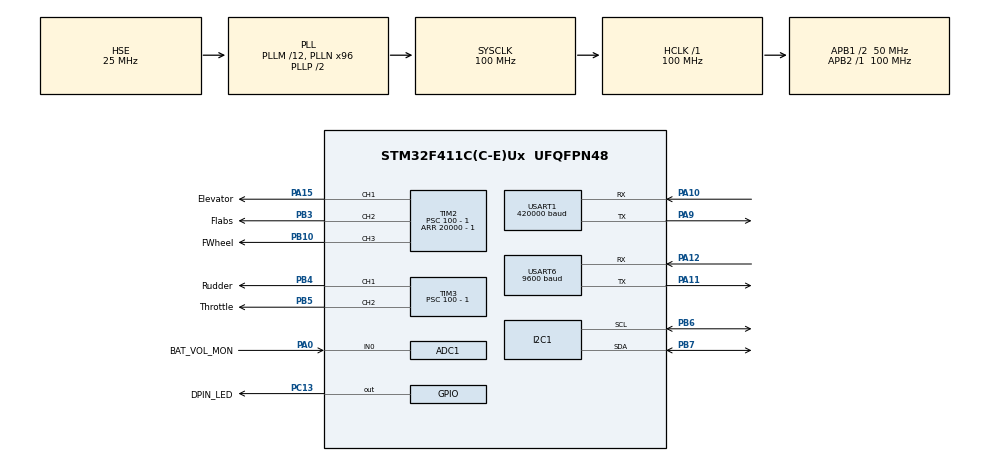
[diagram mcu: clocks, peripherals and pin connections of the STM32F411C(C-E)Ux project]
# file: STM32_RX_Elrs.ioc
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ADC1.Channel-0\#ChannelRegularConversion=ADC_CHANNEL_0
ADC1.ContinuousConvMode=ENABLE
ADC1.DMAContinuousRequests=ENABLE
ADC1.NbrOfConversionFlag=1
ADC1.Rank-0\#ChannelRegularConversion=1
ADC1.SamplingTime-0\#ChannelRegularConversion=ADC_SAMPLETIME_144CYCLES
ADC1.ScanConvMode=ENABLE
ADC1.master=1
Dma.ADC1.2.Direction=DMA_PERIPH_TO_MEMORY
Dma.ADC1.2.FIFOMode=DMA_FIFOMODE_DISABLE
Dma.ADC1.2.Instance=DMA2_Stream0
Dma.ADC1.2.MemDataAlignment=DMA_MDATAALIGN_HALFWORD
Dma.ADC1.2.MemInc=DMA_MINC_ENABLE
Dma.ADC1.2.Mode=DMA_CIRCULAR
Dma.ADC1.2.PeriphDataAlignment=DMA_PDATAALIGN_HALFWORD
Dma.ADC1.2.PeriphInc=DMA_PINC_DISABLE
Dma.ADC1.2.Priority=DMA_PRIORITY_LOW
Dma.Request0=USART1_RX
Dma.Request1=USART1_TX
Dma.Request2=ADC1
Dma.Request3=USART6_RX
Dma.USART1_RX.0.Direction=DMA_PERIPH_TO_MEMORY
Dma.USART1_RX.0.FIFOMode=DMA_FIFOMODE_DISABLE
Dma.USART1_RX.0.Instance=DMA2_Stream2
Dma.USART1_RX.0.MemDataAlignment=DMA_MDATAALIGN_BYTE
Dma.USART1_RX.0.MemInc=DMA_MINC_ENABLE
Dma.USART1_RX.0.Mode=DMA_CIRCULAR
Dma.USART1_RX.0.PeriphDataAlignment=DMA_PDATAALIGN_BYTE
Dma.USART1_RX.0.PeriphInc=DMA_PINC_DISABLE
Dma.USART1_RX.0.Priority=DMA_PRIORITY_LOW
Dma.USART1_TX.1.Direction=DMA_MEMORY_TO_PERIPH
Dma.USART1_TX.1.FIFOMode=DMA_FIFOMODE_DISABLE
Dma.USART1_TX.1.Instance=DMA2_Stream7
Dma.USART1_TX.1.MemDataAlignment=DMA_MDATAALIGN_BYTE
Dma.USART1_TX.1.MemInc=DMA_MINC_ENABLE
Dma.USART1_TX.1.Mode=DMA_NORMAL
Dma.USART1_TX.1.PeriphDataAlignment=DMA_PDATAALIGN_BYTE
Dma.USART1_TX.1.PeriphInc=DMA_PINC_DISABLE
Dma.USART1_TX.1.Priority=DMA_PRIORITY_LOW
Dma.USART6_RX.3.Direction=DMA_PERIPH_TO_MEMORY
Dma.USART6_RX.3.FIFOMode=DMA_FIFOMODE_DISABLE
Dma.USART6_RX.3.Instance=DMA2_Stream1
Dma.USART6_RX.3.MemDataAlignment=DMA_MDATAALIGN_BYTE
Dma.USART6_RX.3.MemInc=DMA_MINC_ENABLE
Dma.USART6_RX.3.Mode=DMA_CIRCULAR
Dma.USART6_RX.3.PeriphDataAlignment=DMA_PDATAALIGN_BYTE
Dma.USART6_RX.3.PeriphInc=DMA_PINC_DISABLE
Dma.USART6_RX.3.Priority=DMA_PRIORITY_LOW
Mcu.Family=STM32F4
Mcu.Name=STM32F411C(C-E)Ux
Mcu.Package=UFQFPN48
NVIC.ADC_IRQn=true\:0\:0\:false\:false\:true\:true\:true\:true
NVIC.DMA2_Stream0_IRQn=true\:0\:0\:false\:false\:true\:false\:true\:true
NVIC.DMA2_Stream1_IRQn=true\:0\:0\:false\:false\:true\:false\:true\:true
NVIC.DMA2_Stream2_IRQn=true\:0\:0\:false\:false\:true\:false\:true\:true
NVIC.DMA2_Stream7_IRQn=true\:0\:0\:false\:false\:true\:false\:true\:true
NVIC.PriorityGroup=NVIC_PRIORITYGROUP_4
NVIC.USART1_IRQn=true\:0\:0\:false\:false\:true\:true\:true\:true
NVIC.USART6_IRQn=true\:0\:0\:false\:false\:true\:true\:true\:true
PA0-WKUP.GPIO_Label=BAT_VOL_MON
PA0-WKUP.Signal=ADCx_IN0
PA10.Mode=Asynchronous
PA10.Signal=USART1_RX
PA11.Mode=Asynchronous
PA11.Signal=USART6_TX
PA12.Mode=Asynchronous
PA12.Signal=USART6_RX
PA13.Mode=Serial_Wire
PA13.Signal=SYS_JTMS-SWDIO
PA14.Mode=Serial_Wire
PA14.Signal=SYS_JTCK-SWCLK
PA15.GPIO_Label=Elevator
PA15.Signal=S_TIM2_CH1_ETR
PA9.Mode=Asynchronous
PA9.Signal=USART1_TX
PB10.GPIO_Label=FWheel
PB10.Signal=S_TIM2_CH3
PB3.GPIO_Label=Flabs
PB3.Signal=S_TIM2_CH2
PB4.GPIO_Label=Rudder
PB4.Signal=S_TIM3_CH1
PB5.GPIO_Label=Throttle
PB5.Signal=S_TIM3_CH2
PB6.Mode=I2C
PB6.Signal=I2C1_SCL
PB7.Mode=I2C
PB7.Signal=I2C1_SDA
PC13-ANTI_TAMP.GPIO_Label=DPIN_LED
PC13-ANTI_TAMP.PinState=GPIO_PIN_SET
PC13-ANTI_TAMP.Signal=GPIO_Output
PH0\ -\ OSC_IN.Mode=HSE-External-Oscillator
PH0\ -\ OSC_IN.Signal=RCC_OSC_IN
PH1\ -\ OSC_OUT.Mode=HSE-External-Oscillator
PH1\ -\ OSC_OUT.Signal=RCC_OSC_OUT
ProjectManager.HeapSize=0x200
ProjectManager.StackSize=0x400
ProjectManager.TargetToolchain=STM32CubeIDE
RCC.48MHZClocksFreq_Value=50000000
RCC.AHBFreq_Value=100000000
RCC.APB1CLKDivider=RCC_HCLK_DIV2
RCC.APB1Freq_Value=50000000
RCC.APB1TimFreq_Value=100000000
RCC.APB2Freq_Value=100000000
RCC.APB2TimFreq_Value=100000000
RCC.CortexFreq_Value=100000000
RCC.HCLKFreq_Value=100000000
RCC.HSE_VALUE=25000000
RCC.HSI_VALUE=16000000
RCC.LSE_VALUE=32768
RCC.PLLM=12
RCC.PLLN=96
RCC.PLLSourceVirtual=RCC_PLLSOURCE_HSE
RCC.SYSCLKFreq_VALUE=100000000
RCC.SYSCLKSource=RCC_SYSCLKSOURCE_PLLCLK
RCC.VCOOutputFreq_Value=200000000
SH.ADCx_IN0.0=ADC1_IN0,IN0
SH.S_TIM2_CH1_ETR.0=TIM2_CH1,PWM Generation1 CH1
SH.S_TIM2_CH2.0=TIM2_CH2,PWM Generation2 CH2
SH.S_TIM2_CH3.0=TIM2_CH3,PWM Generation3 CH3
SH.S_TIM3_CH1.0=TIM3_CH1,PWM Generation1 CH1
SH.S_TIM3_CH2.0=TIM3_CH2,PWM Generation2 CH2
TIM2.AutoReloadPreload=TIM_AUTORELOAD_PRELOAD_ENABLE
TIM2.Channel-PWM\ Generation1\ CH1=TIM_CHANNEL_1
TIM2.Channel-PWM\ Generation2\ CH2=TIM_CHANNEL_2
TIM2.Channel-PWM\ Generation3\ CH3=TIM_CHANNEL_3
TIM2.Period=20000 - 1
TIM2.Prescaler=100 - 1
TIM3.AutoReloadPreload=TIM_AUTORELOAD_PRELOAD_ENABLE
TIM3.Channel-PWM\ Generation1\ CH1=TIM_CHANNEL_1
TIM3.Channel-PWM\ Generation2\ CH2=TIM_CHANNEL_2
TIM3.Period=20000 - 1
TIM3.Prescaler=100 - 1
USART1.BaudRate=420000
USART1.VirtualMode=VM_ASYNC
USART6.BaudRate=9600
USART6.VirtualMode=VM_ASYNC
VP_TIM2_VS_ClockSourceINT.Mode=Internal
VP_TIM3_VS_ClockSourceINT.Mode=Internal
board=custom

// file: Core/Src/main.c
/* USER CODE BEGIN Header */
/**
  ******************************************************************************
  * @file           : main.c
  * @brief          : Main program body
  ******************************************************************************
  * @attention
  *
  * Copyright (c) 2025 STMicroelectronics.
  * All rights reserved.
  *
  * This software is licensed under terms that can be found in the LICENSE file
  * in the root directory of this software component.
  * If no LICENSE file comes with this software, it is provided AS-IS.
  *
  ******************************************************************************
  */
/* USER CODE END Header */
#include "main.h"
#include "adc.h"
#include "dma.h"
#include "i2c.h"
#include "tim.h"
#include "usart.h"
#include "gpio.h"

/* USER CODE BEGIN Includes */

#include "crsf_serial.h"
#include <stdio.h>
#include "servo_control.h"
#include "mpu9250.h"
#include "neo6m.h"

/* USER CODE END Includes */

/* USER CODE BEGIN PTD */

extern UART_HandleTypeDef huart1;
extern UART_HandleTypeDef huart6;
extern I2C_HandleTypeDef hi2c1;

/* USER CODE END PTD */

/* USER CODE BEGIN PD */
// Voltage monitoring
#define R1		10000.0f	// Ohm
#define R2		2200.0f	// Ohm
#define VREF	3.3f	// Reference voltage of ADC
#define ADC_MAX_VALUE      4095.0f	// 12-bit ADC
float batteryVoltage;
uint16_t millivolts;

uint16_t voltage_dV;

uint8_t sendStatus = 6;

/* USER CODE END PD */

/* USER CODE BEGIN PV */

// Global CRSF serial instance
CrsfSerial_HandleTypeDef hcrsf;
CrsfSerial_HandleTypeDef crsf_handle_rx;

uint16_t ADC_BUF[1];
uint16_t Buf[64];
uint32_t lastPacketMillis = 0;
uint32_t sendTiming;
<<<<<<< HEAD
uint32_t now;

//Timing variables for the main loop ---
uint32_t lastBatterySendTime = 0;
const uint32_t BATTERY_SEND_INTERVAL_MS = 40; // Send every 1 second
=======

//Timing variables for the main loop ---
uint32_t lastBatterySendTime = 0;
const uint32_t BATTERY_SEND_INTERVAL_MS = 500; // Send every 1 second
>>>>>>> 363fa39 (telemetry send upload)

#define UART_RX_BUFFER_SIZE 128
uint8_t  uartRxBuf[UART_RX_BUFFER_SIZE];
uint16_t oldPos = 0;

bool failsafeActive = false;
int lastValidChannels[CRSF_NUM_CHANNELS];
uint8_t telemetry_Channels[64];
uint8_t telem_queue_status = 6;

<<<<<<< HEAD
volatile bool telemetry_window_open = false;
volatile uint32_t telemetry_window_deadline = 0;
#define TELEMETRY_PERIOD_US   4000   // 4ms
static uint32_t lastTelemetryUs = 0;

=======
>>>>>>> 363fa39 (telemetry send upload)
float A_X, A_Y, A_Z, G_X, G_Y, G_Z, TEMPERATUE;
float Roll, Pitch, Yaw;

uint32_t prev_tick = 0;
uint8_t status_i2c;

// GPS
#define RX_BUF_SIZE 256

uint8_t rx_dma_buf[RX_BUF_SIZE];
uint8_t rx_data[RX_BUF_SIZE];
uint8_t Num_Sats;
uint8_t Fix;
uint16_t old_pos = 0;
float Latitude, Longitude, Altitude, Speed;

NEO6M_Data_t *gps;

/* USER CODE END PV */

void SystemClock_Config(void);

/* USER CODE BEGIN 0 */

// Called when a valid RC packet is received
void onRCFrameReceived(const int *rcChannels) {
    lastPacketMillis = HAL_GetTick();  // Timestamp of last valid packet
    failsafeActive = false;

    // Store last valid RC values
    for (int i = 0; i < CRSF_NUM_CHANNELS; i++) {
        lastValidChannels[i] = rcChannels[i];
    }

    // Update servos here with lastValidChannels
    ServoControl_Update(lastValidChannels);
}
// This is the function that will be registered as the callback.
// Its name and signature MUST match the pointer in the struct.
void onPacketChannelsReceived(void) {
	// The CRSF library has already updated hcrsf.channels with the new data.
	// We just need to use it.
	lastPacketMillis = HAL_GetTick(); failsafeActive = false;
	// The 'lastValidChannels' buffer might be redundant if you always
	// read from hcrsf.channels, but it's good practice for failsafe.
	for (int i = 0; i < CRSF_NUM_CHANNELS; i++) {
		lastValidChannels[i] = hcrsf.channels[i];
	}
	// Update your servos with the fresh data from the handle.
	ServoControl_Update(hcrsf.channels);
}

// This function is ONLY called by the CRSF library when the link goes down.
void onLinkDown() {
	failsafeActive = true; // Add code here to handle failsafe, e.g., center servos.
	  // Activate failsafe behavior: hold last known values
	  ServoControl_Update(lastValidChannels);
}

// This function packs battery
/*void onPacketBatterysend(){

}*/

// Clalculating battery voltage
float GetBatteryVoltage(void) {
	uint16_t adc_value = ADC_BUF[0];
	// Convert ADC reading to measured divider voltage
	float vout = (adc_value * VREF) / ADC_MAX_VALUE;

	// Claculate battery voltage
	float vbat = vout * ((R1 + R2) / R2);

	return vbat;
}

// This function should use the library's queue, not transmit directly.
/*uint8_t sendBatteryVoltage(uint16_t millivolts) {
    uint16_t voltage_cV = millivolts / 100; // convert to 0.01V units

	uint8_t payload[7] = {0}; // Initialize to zero
//	// Voltage (Little Endian)
//	payload[0] = (uint8_t)(millivolts & 0xFF);
//	payload[1] = (uint8_t)(millivolts >> 8);

    // Voltage (BIG ENDIAN)
    payload[0] = (voltage_cV >> 8) & 0xFF;
    payload[1] = voltage_cV & 0xFF;

    // Current (not measured → 0 mA)
    payload[2] = 0;
    payload[3] = 0;

    // Fuel used (mAh → 0)
    payload[4] = 0;
    payload[5] = 0;

    // Remaining capacity (percent → 0 if unknown)
    payload[6] = 0;

	// Queue the packet for transmission.
	return CrsfSerial_QueuePacket(&hcrsf, CRSF_FRAMETYPE_BATTERY_SENSOR, payload, sizeof(payload));
}*/

static uint8_t sendBatteryTelemetry(float voltage, float current, float capacity, float remaining){
	crsf_sensor_battery_t crsfBat = {0};

	// Values are MSB first (big Endian)
	crsfBat.voltage = htobe32((uint32_t)(voltage*10.0));	// Volts
	crsfBat.current = htobe32((uint32_t)(current*10.0));	// Amps
	crsfBat.capacity = htobe32((uint32_t)(capacity)) << 8;	//mAh (with this implemetation max capacity is 65535mAh)
	crsfBat.remaining = (uint32_t)(remaining);				// Percent
	// Queue the packet for transmission
	return CrsfSerial_QueuePacket(&hcrsf, CRSF_FRAMETYPE_BATTERY_SENSOR, &crsfBat, sizeof(crsfBat));
}
<<<<<<< HEAD

static inline uint32_t micros(void)
{
    return DWT->CYCCNT / (HAL_RCC_GetHCLKFreq() / 1000000);
}
=======
>>>>>>> 363fa39 (telemetry send upload)

/* USER CODE END 0 */

int main(void)
{

  /* MCU Configuration--------------------------------------------------------*/

  /* Reset of all peripherals, Initializes the Flash interface and the Systick. */
  HAL_Init();

  /* Configure the system clock */
  SystemClock_Config();

  /* Initialize all configured peripherals */
  MX_GPIO_Init();
  MX_DMA_Init();
  MX_USART1_UART_Init();
  MX_ADC1_Init();
  MX_TIM2_Init();
  MX_TIM3_Init();
  MX_I2C1_Init();
  MX_USART6_UART_Init();
  /* USER CODE BEGIN 2 */

  ServoControl_Init();

  // Initialize CRSF with UART and baud rate
  CrsfSerial_Init(&hcrsf, &huart1, CRSF_BAUDRATE);
  // *** REGISTER THE CALLBACKS ***
  //hcrsf.onRCFrameReceived = onRCFrameReceived;
  hcrsf.onPacketChannels = onPacketChannelsReceived;
//  hcrsf.onPacketBattery = onPacketBatterysend;
  hcrsf.onLinkDown = onLinkDown;

  //CrsfSerial_Begin(&hcrsf, CRSF_BAUDRATE);

  HAL_UART_Receive_DMA(&huart1, uartRxBuf, UART_RX_BUFFER_SIZE);

  __HAL_UART_ENABLE_IT(&huart1, UART_IT_IDLE);

  // Strating ADC
  HAL_ADC_Start_DMA(&hadc1, (uint32_t *)ADC_BUF, 1);

<<<<<<< HEAD
  // Enable DWT Cycle Counter
  CoreDebug->DEMCR |= CoreDebug_DEMCR_TRCENA_Msk; // Enable access to DWT
  DWT->CYCCNT = 0;                                // Reset the counter
  DWT->CTRL |= DWT_CTRL_CYCCNTENA_Msk;            // Enable the cycle counter

=======
>>>>>>> 363fa39 (telemetry send upload)
  status_i2c = mpu_init(&hi2c1);

  if (status_i2c == 1) {
	  HAL_GPIO_TogglePin(DPIN_LED_GPIO_Port, DPIN_LED_Pin);
	  HAL_Delay(250);
	  HAL_GPIO_TogglePin(DPIN_LED_GPIO_Port, DPIN_LED_Pin);
	  HAL_Delay(500);
	  HAL_GPIO_TogglePin(DPIN_LED_GPIO_Port, DPIN_LED_Pin);
	  HAL_Delay(250);
	  HAL_GPIO_TogglePin(DPIN_LED_GPIO_Port, DPIN_LED_Pin);

	  MPU_calibrateGyro(&hi2c1, 1500);
  } else {
	  HAL_GPIO_WritePin(DPIN_LED_GPIO_Port, DPIN_LED_Pin, GPIO_PIN_SET);
  }

//  NEO6M_Init(&huart6);

  // Start UART DMA reception in circular mode for NEO
//  HAL_UART_Receive_DMA(&huart6, rx_dma_buf, RX_BUF_SIZE);
//  __HAL_UART_ENABLE_IT(&huart6, UART_IT_IDLE);

  /* USER CODE END 2 */

  /* Infinite loop */
  while (1)
  {

    /* USER CODE BEGIN 3 */

<<<<<<< HEAD
//	  sendTiming = HAL_GetTick();

	  now = micros();

	  CrsfSerial_Loop(&hcrsf);

/*	if (telemetry_window_open &&
		(int32_t)(now - telemetry_window_deadline) >= 0)
	{
		telemetry_window_open = false;
	}*/
    /* Telemetry conditions:
       - RX recently spoke (window open)
       - link is up
       - UART idle
       - 4ms elapsed
    */
    if (telemetry_window_open &&
        hcrsf.linkIsUp &&
        (int32_t)(now - lastTelemetryUs) >= TELEMETRY_PERIOD_US)
    {
        lastTelemetryUs += TELEMETRY_PERIOD_US;

		batteryVoltage = GetBatteryVoltage(); // e.g., returns 12.6f
		millivolts = batteryVoltage * 1000; // Convert to mV
        voltage_dV = millivolts / 100; // CRSF uses 0.1V units
        sendStatus = sendBatteryTelemetry(
        		batteryVoltage,
            0.0f, 0.0f, 0.0f
        );
        telemetry_window_open = false;
    }

      // ====================================================================
      //  PHASE 2: Telemetry Data Queuing
      // ====================================================================

	  // Check if it's time to send the battery voltage
/*	  if ((int32_t)(sendTiming - lastBatterySendTime) >= BATTERY_SEND_INTERVAL_MS){
		  lastBatterySendTime += BATTERY_SEND_INTERVAL_MS;
		  if (CrsfSerial_IsLinkUp(&hcrsf)) {
			  // Get voltage and queue the packet for sending
			  // The CrsfSerial_Loop will handle the actual transmission when it can.
			  batteryVoltage = GetBatteryVoltage(); // e.g., returns 12.6f
			  millivolts = batteryVoltage * 1000; // Convert to mV
	          voltage_dV = millivolts / 100; // CRSF uses 0.1V units

	          sendStatus = sendBatteryTelemetry(batteryVoltage, 3.0, 4.0, 5.0);
		  }
	  }*/
//	  if ((CrsfSerial_IsLinkUp(&hcrsf)) && (HAL_GetTick() - lastBatterySendTime >= BATTERY_SEND_INTERVAL_MS)) {
//	  //if (!CrsfSerial_IsLinkUp(&hcrsf)) {
//		  lastBatterySendTime = HAL_GetTick(); // Update the timestamp
//		  // Get voltage and queue the packet for sending
//		  // The CrsfSerial_Loop will handle the actual transmission when it can.
//		  batteryVoltage = GetBatteryVoltage(); // e.g., returns 12.6f
//		  millivolts = batteryVoltage * 1000; // Convert to mV
//          voltage_dV = millivolts / 100; // CRSF uses 0.1V units
//
//          sendStatus = sendBatteryTelemetry(batteryVoltage, 3.0, 4.0, 5.0);
//	  }

=======
	  sendTiming = HAL_GetTick();

	  CrsfSerial_Loop(&hcrsf);

      // ====================================================================
      //  PHASE 2: Telemetry Data Queuing
      // ====================================================================

	  // Check if it's time to send the battery voltage
	  if ((CrsfSerial_IsLinkUp(&hcrsf)) && (HAL_GetTick() - lastBatterySendTime >= BATTERY_SEND_INTERVAL_MS)) {
	  //if (!CrsfSerial_IsLinkUp(&hcrsf)) {
		  lastBatterySendTime = HAL_GetTick(); // Update the timestamp
		  // Get voltage and queue the packet for sending
		  // The CrsfSerial_Loop will handle the actual transmission when it can.
		  batteryVoltage = GetBatteryVoltage(); // e.g., returns 12.6f
		  millivolts = batteryVoltage * 1000; // Convert to mV
          voltage_dV = millivolts / 100; // CRSF uses 0.1V units

/*          crsf_sensor_battery_t battery_payload = {0};
          battery_payload.voltage = voltage_dV;
          // Other fields (current, capacity, remaining_percent) can be set here if available

          // Queue the battery telemetry packet. It will be sent when polled by the TX.
          telem_queue_status = Crsf_QueueTelemetryPacket(&crsf_handle_rx, CRSF_FRAMETYPE_BATTERY_SENSOR, (uint8_t*)&battery_payload, sizeof(crsf_sensor_battery_t));
          for (int i = 0; i < 64; i++){
        	  telemetry_Channels[i] = hcrsf.telemetry_tx_buffer[i];
          }*/
		  // Use the provided function to queue the packet.
		  // Do not check the return status here in the main loop.
		  // The library is responsible for managing the transmission.
//		  sendStatus = sendBatteryVoltage(millivolts);
          sendStatus = sendBatteryTelemetry(batteryVoltage, 10.0, 45.0, 50);
	  }

      // ====================================================================
      //  PHASE 3: Telemetry Response to Polls
      // ====================================================================
      // This flag is set by Crsf_ProcessByte when a poll packet is received.
/*      if (crsf_handle_rx.telemetry_poll_received) {
          crsf_handle_rx.telemetry_poll_received = false; // Clear the flag

          // Check if there's a telemetry packet queued and the UART is not busy.
          if (!crsf_handle_rx.tx_busy && crsf_handle_rx.telemetry_tx_len > 0) {
              // Transmit the queued telemetry packet.
              Crsf_TransmitPacket(&crsf_handle_rx, crsf_handle_rx.telemetry_tx_buffer, crsf_handle_rx.telemetry_tx_len);
              crsf_handle_rx.telemetry_tx_len = 0; // Clear the queue after sending
          }
      }*/
>>>>>>> 363fa39 (telemetry send upload)
//	  if(sendStatus == 0) {
//		  HAL_GPIO_TogglePin(DPIN_LED_GPIO_Port, DPIN_LED_Pin);
//	  }

	  MPU_calcAttitude(&hi2c1);

	  Roll = attitude.r;
	  Pitch = attitude.p;
	  Yaw = attitude.y;

//	  gps = NEO6M_GetData();
//	  if (gps->fix)
//	  {
//		  Fix = gps->fix;
//		  Latitude = gps->latitude;
//		  Longitude = gps->longitude;
//		  Altitude = gps->altitude;
//		  Speed = gps->speed;
//		  Num_Sats = gps->num_sats;
//	  }

  }
  /* USER CODE END 3 */
}

void SystemClock_Config(void)
{
  RCC_OscInitTypeDef RCC_OscInitStruct = {0};
  RCC_ClkInitTypeDef RCC_ClkInitStruct = {0};

  /** Configure the main internal regulator output voltage
  */
  __HAL_RCC_PWR_CLK_ENABLE();
  __HAL_PWR_VOLTAGESCALING_CONFIG(PWR_REGULATOR_VOLTAGE_SCALE1);

  /** Initializes the RCC Oscillators according to the specified parameters
  * in the RCC_OscInitTypeDef structure.
  */
  RCC_OscInitStruct.OscillatorType = RCC_OSCILLATORTYPE_HSE;
  RCC_OscInitStruct.HSEState = RCC_HSE_ON;
  RCC_OscInitStruct.PLL.PLLState = RCC_PLL_ON;
  RCC_OscInitStruct.PLL.PLLSource = RCC_PLLSOURCE_HSE;
  RCC_OscInitStruct.PLL.PLLM = 12;
  RCC_OscInitStruct.PLL.PLLN = 96;
  RCC_OscInitStruct.PLL.PLLP = RCC_PLLP_DIV2;
  RCC_OscInitStruct.PLL.PLLQ = 4;
  if (HAL_RCC_OscConfig(&RCC_OscInitStruct) != HAL_OK)
  {
    Error_Handler();
  }

  /** Initializes the CPU, AHB and APB buses clocks
  */
  RCC_ClkInitStruct.ClockType = RCC_CLOCKTYPE_HCLK|RCC_CLOCKTYPE_SYSCLK
                              |RCC_CLOCKTYPE_PCLK1|RCC_CLOCKTYPE_PCLK2;
  RCC_ClkInitStruct.SYSCLKSource = RCC_SYSCLKSOURCE_PLLCLK;
  RCC_ClkInitStruct.AHBCLKDivider = RCC_SYSCLK_DIV1;
  RCC_ClkInitStruct.APB1CLKDivider = RCC_HCLK_DIV2;
  RCC_ClkInitStruct.APB2CLKDivider = RCC_HCLK_DIV1;

  if (HAL_RCC_ClockConfig(&RCC_ClkInitStruct, FLASH_LATENCY_3) != HAL_OK)
  {
    Error_Handler();
  }
}

void Error_Handler(void)
{
  __disable_irq();
  while (1)
  {
  }
}
